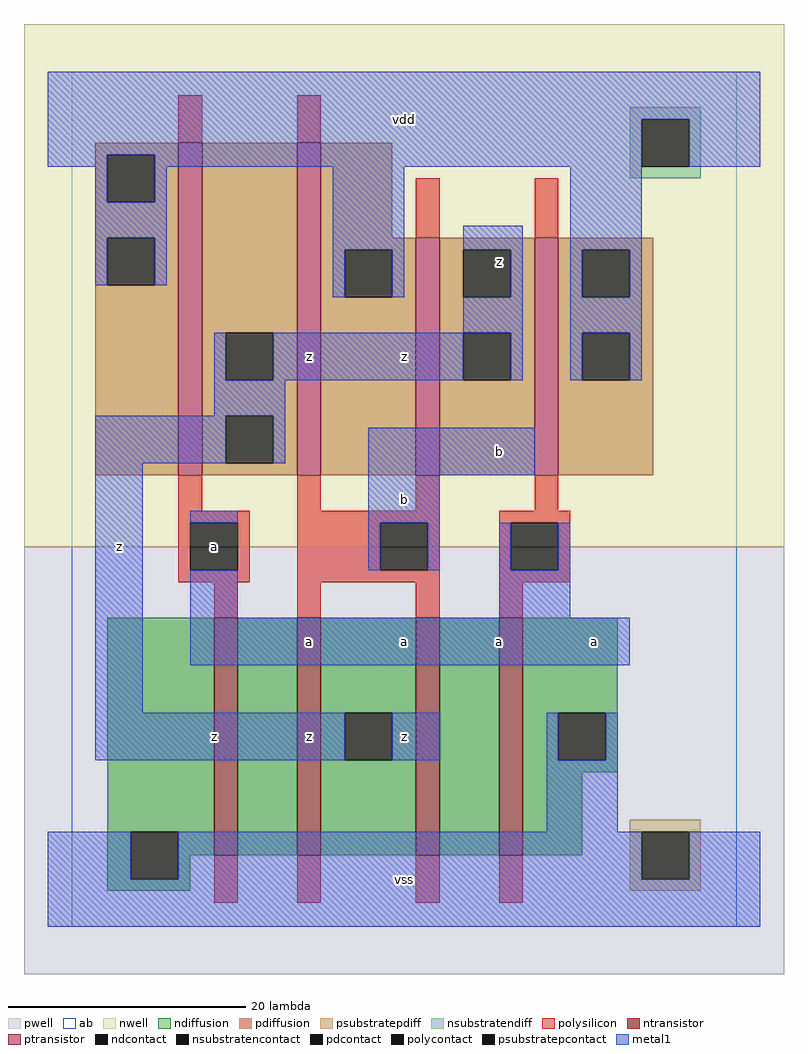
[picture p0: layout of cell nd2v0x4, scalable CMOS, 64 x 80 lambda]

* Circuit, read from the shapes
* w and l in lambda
.subckt nd2v0x4 a b vdd vss z
M1 n1 a vss vss nfet w=20 l=2
M2 z b n1 vss nfet w=20 l=2
M3 n2 b z vss nfet w=20 l=2
M4 vss a n2 vss nfet w=20 l=2
M5 z a vdd vdd pfet w=28 l=2
M6 vdd b z vdd pfet w=28 l=2
M7 z b vdd vdd pfet w=20 l=2
M8 vdd a z vdd pfet w=20 l=2
.ends

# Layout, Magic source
magic
tech scmos
<< ab >>
rect 0 0 56 72
<< pwell >>
rect -4 -4 60 32
<< nwell >>
rect -4 32 60 76
<< polysilicon >>
rect 9 66 11 70
rect 19 66 21 70
rect 29 58 31 63
rect 39 58 41 63
rect 9 35 11 38
rect 19 35 21 38
rect 29 35 31 38
rect 39 35 41 38
rect 9 34 15 35
rect 9 30 10 34
rect 14 30 15 34
rect 9 29 15 30
rect 19 34 31 35
rect 19 30 26 34
rect 30 30 31 34
rect 19 29 31 30
rect 12 26 14 29
rect 19 26 21 29
rect 29 26 31 29
rect 36 34 42 35
rect 36 30 37 34
rect 41 30 42 34
rect 36 29 42 30
rect 36 26 38 29
rect 12 2 14 6
rect 19 2 21 6
rect 29 2 31 6
rect 36 2 38 6
<< ndiffusion >>
rect 3 8 12 26
rect 3 4 5 8
rect 9 6 12 8
rect 14 6 19 26
rect 21 18 29 26
rect 21 14 23 18
rect 27 14 29 18
rect 21 6 29 14
rect 31 6 36 26
rect 38 18 46 26
rect 38 14 41 18
rect 45 14 46 18
rect 38 13 46 14
rect 38 6 43 13
rect 9 4 10 6
rect 3 3 10 4
<< pdiffusion >>
rect 2 65 9 66
rect 2 61 3 65
rect 7 61 9 65
rect 2 58 9 61
rect 2 54 3 58
rect 7 54 9 58
rect 2 38 9 54
rect 11 50 19 66
rect 11 46 13 50
rect 17 46 19 50
rect 11 43 19 46
rect 11 39 13 43
rect 17 39 19 43
rect 11 38 19 39
rect 21 58 27 66
rect 21 57 29 58
rect 21 53 23 57
rect 27 53 29 57
rect 21 38 29 53
rect 31 57 39 58
rect 31 53 33 57
rect 37 53 39 57
rect 31 50 39 53
rect 31 46 33 50
rect 37 46 39 50
rect 31 38 39 46
rect 41 57 49 58
rect 41 53 43 57
rect 47 53 49 57
rect 41 50 49 53
rect 41 46 43 50
rect 47 46 49 50
rect 41 38 49 46
<< metal1 >>
rect -2 68 58 72
rect -2 65 48 68
rect -2 64 3 65
rect 2 61 3 64
rect 7 64 48 65
rect 52 64 58 68
rect 7 61 8 64
rect 2 58 8 61
rect 2 54 3 58
rect 7 54 8 58
rect 22 57 28 64
rect 22 53 23 57
rect 27 53 28 57
rect 33 57 38 59
rect 37 53 38 57
rect 33 50 38 53
rect 12 46 13 50
rect 17 46 33 50
rect 37 46 38 50
rect 42 57 48 64
rect 42 53 43 57
rect 47 53 48 57
rect 42 50 48 53
rect 42 46 43 50
rect 47 46 48 50
rect 12 43 18 46
rect 2 39 13 43
rect 17 39 18 43
rect 2 18 6 39
rect 25 38 39 42
rect 10 34 14 35
rect 25 34 31 38
rect 25 30 26 34
rect 30 30 31 34
rect 36 30 37 34
rect 41 30 42 34
rect 10 26 14 30
rect 36 26 42 30
rect 10 22 47 26
rect 2 14 23 18
rect 27 14 31 18
rect 40 14 41 18
rect 45 14 46 18
rect 40 8 46 14
rect -2 4 5 8
rect 9 4 48 8
rect 52 4 58 8
rect -2 0 58 4
<< ntransistor >>
rect 12 6 14 26
rect 19 6 21 26
rect 29 6 31 26
rect 36 6 38 26
<< ptransistor >>
rect 9 38 11 66
rect 19 38 21 66
rect 29 38 31 58
rect 39 38 41 58
<< polycontact >>
rect 10 30 14 34
rect 26 30 30 34
rect 37 30 41 34
<< ndcontact >>
rect 5 4 9 8
rect 23 14 27 18
rect 41 14 45 18
<< pdcontact >>
rect 3 61 7 65
rect 3 54 7 58
rect 13 46 17 50
rect 13 39 17 43
rect 23 53 27 57
rect 33 53 37 57
rect 33 46 37 50
rect 43 53 47 57
rect 43 46 47 50
<< psubstratepcontact >>
rect 48 4 52 8
<< nsubstratencontact >>
rect 48 64 52 68
<< psubstratepdiff >>
rect 47 8 53 9
rect 47 4 48 8
rect 52 4 53 8
rect 47 3 53 4
<< nsubstratendiff >>
rect 47 68 53 69
rect 47 64 48 68
rect 52 64 53 68
rect 47 63 53 64
<< labels >>
rlabel metal1 4 32 4 32 6 z
rlabel metal1 20 16 20 16 6 z
rlabel metal1 12 16 12 16 6 z
rlabel polycontact 12 32 12 32 6 a
rlabel metal1 20 24 20 24 6 a
rlabel metal1 20 48 20 48 6 z
rlabel metal1 28 4 28 4 6 vss
rlabel metal1 28 16 28 16 6 z
rlabel metal1 28 24 28 24 6 a
rlabel metal1 36 24 36 24 6 a
rlabel metal1 36 40 36 40 6 b
rlabel metal1 28 36 28 36 6 b
rlabel metal1 28 48 28 48 6 z
rlabel pdcontact 36 56 36 56 6 z
rlabel metal1 28 68 28 68 6 vdd
rlabel metal1 44 24 44 24 6 a
<< end >>
